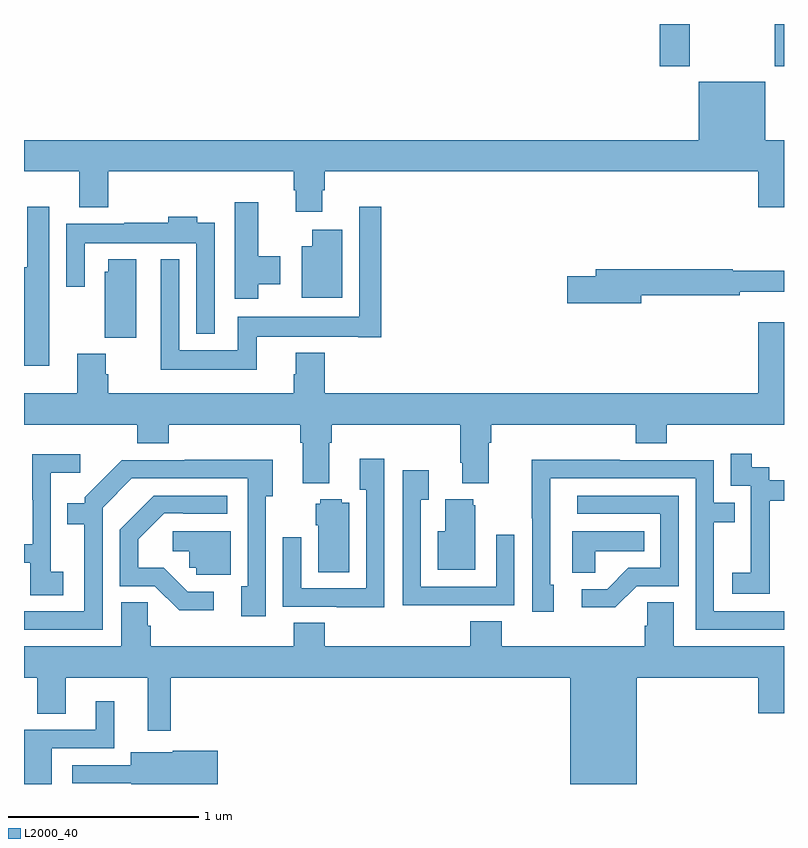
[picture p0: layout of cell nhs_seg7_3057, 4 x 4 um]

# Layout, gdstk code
import gdstk
lib = gdstk.Library(unit=1e-6, precision=1e-09)
def R(c, l, rs):  # rectangles x0, y0, x1, y1
    for r in rs: c.add(gdstk.rectangle(r[:2], r[2:], *l))
def P(c, l, *ps):  # polygons
    for p in ps: c.add(gdstk.Polygon(p, *l))
L2000_40 = (2000, 40)

nhs_seg7_3057 = lib.new_cell('nhs_seg7_3057')
R(nhs_seg7_3057, L2000_40, [(308.345,1059.777,308.505,1060), (308.95,1059.777,309,1060)])
P(nhs_seg7_3057, L2000_40, [(306.571,1059.126),(306.584,1059.126),(306.584,1059.224),(308.864,1059.224),(308.864,1059.036),(309,1059.036),(309,1059.388),(308.902,1059.388),(308.902,1059.697),(308.552,1059.697),(308.552,1059.388),(305,1059.388),(305,1059.224),(305.291,1059.224),(305.291,1059.035),(305.444,1059.035),(305.444,1059.224),(306.419,1059.224),(306.419,1059.126),(306.431,1059.126),(306.431,1059.012),(306.571,1059.012)],
  [(306.232,1058.63),(306.349,1058.63),(306.349,1058.778),(306.232,1058.778),(306.232,1059.061),(306.11,1059.061),(306.11,1058.553),(306.232,1058.553)],
  [(305.134,1058.615),(305.133,1058.615),(305.133,1059.037),(305.017,1059.037),(305.017,1058.719),(305,1058.719),(305,1058.202),(305.134,1058.202)],
  [(306.224,1058.354),(306.758,1058.354),(306.758,1058.352),(306.881,1058.352),(306.881,1059.037),(306.765,1059.037),(306.765,1058.458),(306.126,1058.458),(306.126,1058.284),(305.817,1058.284),(305.817,1058.761),(305.72,1058.761),(305.72,1058.18),(306.224,1058.18)],
  [(306.003,1058.953),(305.911,1058.953),(305.911,1058.986),(305.759,1058.986),(305.759,1058.953),(305.527,1058.953),(305.527,1058.95),(305.223,1058.95),(305.223,1058.616),(305.319,1058.616),(305.319,1058.846),(305.907,1058.846),(305.907,1058.369),(306.003,1058.369)],
  [(306.676,1058.917),(306.518,1058.917),(306.518,1058.83),(306.461,1058.83),(306.461,1058.558),(306.676,1058.558)],
  [(305.59,1058.761),(305.444,1058.761),(305.444,1058.697),(305.426,1058.697),(305.426,1058.35),(305.59,1058.35)],
  [(308.248,1058.572),(308.768,1058.572),(308.768,1058.591),(309,1058.591),(309,1058.701),(308.731,1058.701),(308.731,1058.708),(308.009,1058.708),(308.009,1058.672),(307.86,1058.672),(307.86,1058.53),(308.248,1058.53)],
  [(306.607,1057.796),(306.62,1057.796),(306.62,1057.892),(307.295,1057.892),(307.295,1057.69),(307.307,1057.69),(307.307,1057.583),(307.447,1057.583),(307.447,1057.796),(307.46,1057.796),(307.46,1057.892),(308.219,1057.892),(308.219,1057.793),(308.384,1057.793),(308.384,1057.892),(309,1057.892),(309,1058.431),(308.864,1058.431),(308.864,1058.056),(306.584,1058.056),(306.584,1058.269),(306.431,1058.269),(306.431,1058.157),(306.419,1058.157),(306.419,1058.056),(305.444,1058.056),(305.444,1058.156),(305.431,1058.156),(305.431,1058.265),(305.279,1058.265),(305.279,1058.056),(305,1058.056),(305,1057.892),(305.597,1057.892),(305.597,1057.793),(305.762,1057.793),(305.762,1057.892),(306.455,1057.892),(306.455,1057.796),(306.467,1057.796),(306.467,1057.583),(306.607,1057.583)],
  [(308.925,1057.207),(308.924,1057.207),(308.924,1057.491),(309,1057.491),(309,1057.599),(308.922,1057.599),(308.922,1057.668),(308.83,1057.668),(308.83,1057.738),(308.721,1057.738),(308.721,1057.569),(308.826,1057.569),(308.826,1057.34),(308.825,1057.34),(308.825,1057.111),(308.727,1057.111),(308.727,1057.001),(308.925,1057.001)],
  [(305.206,1057.116),(305.142,1057.116),(305.142,1057.637),(305.296,1057.637),(305.296,1057.735),(305.044,1057.735),(305.044,1057.496),(305.046,1057.496),(305.046,1057.263),(305,1057.263),(305,1057.165),(305.034,1057.165),(305.034,1056.994),(305.206,1056.994)],
  [(306.897,1057.711),(306.767,1057.711),(306.767,1057.55),(306.801,1057.55),(306.801,1057.029),(306.459,1057.029),(306.459,1057.3),(306.363,1057.3),(306.363,1056.933),(306.647,1056.933),(306.647,1056.929),(306.897,1056.929)],
  [(305.415,1057.455),(305.568,1057.608),(306.177,1057.608),(306.177,1057.042),(306.143,1057.042),(306.143,1056.882),(306.273,1056.882),(306.273,1057.514),(306.31,1057.514),(306.31,1057.706),(305.845,1057.706),(305.845,1057.704),(305.514,1057.704),(305.319,1057.509),(305.319,1057.477),(305.227,1057.477),(305.227,1057.368),(305.318,1057.368),(305.318,1056.909),(305,1056.909),(305,1056.813),(305.415,1056.813)],
  [(309,1056.909),(308.631,1056.909),(308.631,1057.378),(308.741,1057.378),(308.741,1057.479),(308.631,1057.479),(308.631,1057.704),(308.135,1057.704),(308.135,1057.706),(307.672,1057.706),(307.672,1057.399),(307.674,1057.399),(307.674,1056.906),(307.789,1056.906),(307.789,1057.05),(307.77,1057.05),(307.77,1057.608),(308.535,1057.608),(308.535,1056.813),(309,1056.813)],
  [(307.265,1056.942),(307.581,1056.942),(307.581,1057.312),(307.485,1057.312),(307.485,1057.038),(307.089,1057.038),(307.089,1057.495),(307.129,1057.495),(307.129,1057.651),(306.993,1057.651),(306.993,1056.941),(307.265,1056.941)],
  [(308.226,1057.041),(308.445,1057.041),(308.445,1057.518),(307.911,1057.518),(307.911,1057.422),(308.349,1057.422),(308.349,1057.137),(308.18,1057.137),(308.069,1057.026),(307.935,1057.026),(307.935,1056.929),(308.113,1056.929)],
  [(305.998,1057.011),(305.862,1057.011),(305.735,1057.138),(305.602,1057.138),(305.602,1057.288),(305.739,1057.425),(305.839,1057.425),(305.839,1057.422),(306.07,1057.422),(306.07,1057.518),(305.684,1057.518),(305.505,1057.339),(305.505,1057.041),(305.688,1057.041),(305.816,1056.914),(305.998,1056.914)],
  [(306.712,1057.48),(306.672,1057.48),(306.672,1057.498),(306.558,1057.498),(306.558,1057.476),(306.536,1057.476),(306.536,1057.362),(306.548,1057.362),(306.548,1057.114),(306.712,1057.114)],
  [(307.375,1057.467),(307.364,1057.467),(307.364,1057.498),(307.217,1057.498),(307.217,1057.33),(307.178,1057.33),(307.178,1057.127),(307.375,1057.127)],
  [(308.007,1057.226),(308.264,1057.226),(308.264,1057.33),(307.886,1057.33),(307.886,1057.111),(308.007,1057.111)],
  [(306.088,1057.329),(305.784,1057.329),(305.784,1057.226),(305.871,1057.226),(305.871,1057.137),(305.907,1057.137),(305.907,1057.101),(306.088,1057.101)],
  [(308.224,1056.56),(308.864,1056.56),(308.864,1056.372),(309,1056.372),(309,1056.724),(308.419,1056.724),(308.419,1056.956),(308.28,1056.956),(308.28,1056.833),(308.267,1056.833),(308.267,1056.724),(307.514,1056.724),(307.514,1056.857),(307.349,1056.857),(307.349,1056.724),(306.584,1056.724),(306.584,1056.848),(306.419,1056.848),(306.419,1056.724),(305.666,1056.724),(305.666,1056.834),(305.651,1056.834),(305.651,1056.956),(305.513,1056.956),(305.513,1056.724),(305,1056.724),(305,1056.56),(305.069,1056.56),(305.069,1056.37),(305.221,1056.37),(305.221,1056.56),(305.651,1056.56),(305.651,1056.279),(305.773,1056.279),(305.773,1056.56),(307.874,1056.56),(307.874,1056),(308.224,1056)],
  [(305.146,1056.189),(305.476,1056.189),(305.476,1056.436),(305.378,1056.436),(305.378,1056.285),(305,1056.285),(305,1056),(305.146,1056)],
  [(306.019,1056.174),(305.784,1056.174),(305.784,1056.166),(305.561,1056.166),(305.561,1056.099),(305.253,1056.099),(305.253,1056.003),(305.565,1056.003),(305.565,1056),(306.019,1056)])

lib.write_gds('nhs_seg7_3057.gds')
